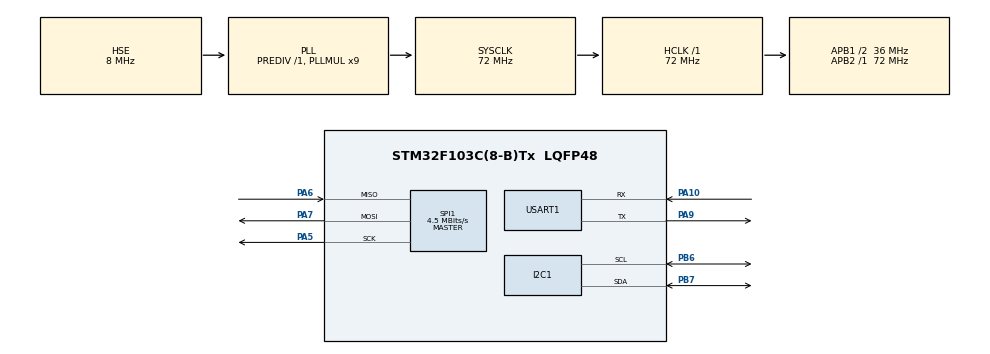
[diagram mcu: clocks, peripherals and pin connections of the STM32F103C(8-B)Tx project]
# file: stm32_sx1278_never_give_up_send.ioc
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I2C1.I2C_Mode=I2C_Fast
Mcu.Family=STM32F1
Mcu.Name=STM32F103C(8-B)Tx
Mcu.Package=LQFP48
NVIC.PriorityGroup=NVIC_PRIORITYGROUP_4
PA10.Mode=Asynchronous
PA10.Signal=USART1_RX
PA5.Mode=Full_Duplex_Master
PA5.Signal=SPI1_SCK
PA6.Mode=Full_Duplex_Master
PA6.Signal=SPI1_MISO
PA7.Mode=Full_Duplex_Master
PA7.Signal=SPI1_MOSI
PA9.Mode=Asynchronous
PA9.Signal=USART1_TX
PB6.Mode=I2C
PB6.Signal=I2C1_SCL
PB7.Mode=I2C
PB7.Signal=I2C1_SDA
PD0-OSC_IN.Mode=HSE-External-Oscillator
PD0-OSC_IN.Signal=RCC_OSC_IN
PD1-OSC_OUT.Mode=HSE-External-Oscillator
PD1-OSC_OUT.Signal=RCC_OSC_OUT
ProjectManager.HeapSize=0x200
ProjectManager.StackSize=0x400
ProjectManager.TargetToolchain=STM32CubeIDE
RCC.AHBFreq_Value=72000000
RCC.APB1CLKDivider=RCC_HCLK_DIV2
RCC.APB1Freq_Value=36000000
RCC.APB1TimFreq_Value=72000000
RCC.APB2Freq_Value=72000000
RCC.APB2TimFreq_Value=72000000
RCC.HCLKFreq_Value=72000000
RCC.PLLMUL=RCC_PLL_MUL9
RCC.PLLSourceVirtual=RCC_PLLSOURCE_HSE
RCC.SYSCLKFreq_VALUE=72000000
RCC.SYSCLKSource=RCC_SYSCLKSOURCE_PLLCLK
RCC.USBFreq_Value=72000000
SPI1.BaudRatePrescaler=SPI_BAUDRATEPRESCALER_16
SPI1.CalculateBaudRate=4.5 MBits/s
SPI1.Direction=SPI_DIRECTION_2LINES
SPI1.Mode=SPI_MODE_MASTER
SPI1.VirtualType=VM_MASTER
USART1.VirtualMode=VM_ASYNC
board=custom

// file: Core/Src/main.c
/* USER CODE BEGIN Header */
/**
  ******************************************************************************
  * @file           : main.c
  * @brief          : Main program body
  ******************************************************************************
  * @attention
  *
  * Copyright (c) 2024 STMicroelectronics.
  * All rights reserved.
  *
  * This software is licensed under terms that can be found in the LICENSE file
  * in the root directory of this software component.
  * If no LICENSE file comes with this software, it is provided AS-IS.
  *
  ******************************************************************************
  */
/* USER CODE END Header */
#include "main.h"

/* USER CODE BEGIN Includes */
#include <stdio.h>
#include "sx1278.hpp"
#include "gpio.h"
#include "spi.h"
#include "i2c.h"
#include "mpu6050.h"

/* USER CODE END Includes */

/* USER CODE BEGIN PTD */

#define MODE_MASTER			1
#define	MODE_SLAVE			0

/* USER CODE END PTD */

I2C_HandleTypeDef hi2c1;

SPI_HandleTypeDef hspi1;

UART_HandleTypeDef huart1;

void SystemClock_Config(void);
static void MX_GPIO_Init(void);
static void MX_SPI1_Init(void);
static void MX_USART1_UART_Init(void);
static void MX_I2C1_Init(void);
/* USER CODE BEGIN PFP */
#define PUTCHAR_PROTOTYPE int __io_putchar(int ch)
/* USER CODE END PFP */

/* USER CODE BEGIN 0 */
SX1278_hw_t SX1278_hw;
SX1278_t SX1278;

int master;
int ret;

char buffer[512];

int message;
int message_length;
void MPU6050_Soft_Reset(void) {
    uint8_t Data = 0x80; // Giá trị reset m�?m
    HAL_I2C_Mem_Write(&hi2c1, MPU6050_ADDR, 0x6B, 1, &Data, 1, HAL_MAX_DELAY);
    HAL_Delay(100); // �?ợi MPU6050 khởi động lại
}

/* USER CODE END 0 */

int main(void)
{

  /* MCU Configuration--------------------------------------------------------*/

  /* Reset of all peripherals, Initializes the Flash interface and the Systick. */
  HAL_Init();

  /* Configure the system clock */
  SystemClock_Config();

  /* Initialize all configured peripherals */
  MX_GPIO_Init();
  MX_SPI1_Init();
  MX_USART1_UART_Init();
  MX_I2C1_Init();
  /* USER CODE BEGIN 2 */
  init_gpio();
  init_spi1();
#if MODE_MASTER
  printf("Mode: Master\r\n");
#elif MODE_SLAVE
  printf("Mode: Slave\r\n");
#endif

  //initialize LoRa module
  SX1278_hw.dio0.port = DIO0_GPIO_Port;
  SX1278_hw.dio0.pin = DIO0_Pin;
  SX1278_hw.nss.port = NSS_GPIO_Port;
  SX1278_hw.nss.pin = NSS_Pin;
  SX1278_hw.reset.port = RESET_GPIO_Port;
  SX1278_hw.reset.pin = RESET_Pin;
  SX1278_hw.spi = &hspi1;

  SX1278.hw = &SX1278_hw;

  printf("Configuring LoRa module\r\n");
  SX1278_init(&SX1278, 434000000, SX1278_POWER_17DBM, SX1278_LORA_SF_7,
		  	  SX1278_LORA_BW_125KHZ, SX1278_LORA_CR_4_5, SX1278_LORA_CRC_EN, 10);
  printf("Done configuring LoRaModule\r\n");

#if MODE_MASTER
  ret = SX1278_LoRaEntryTx(&SX1278, 16, 2000);
#elif MODE_SLAVE
  ret = SX1278_LoRaEntryRx(&SX1278, 16, 2000);
#endif
  I2C_MspInit(&hi2c1);
  I2C1_Init();
  MPU6050_Soft_Reset();
  MPU6050_t MPU6050;
  while(MPU6050_Init(&hi2c1) == 1);
  /* USER CODE END 2 */

  /* Infinite loop */
  /* USER CODE BEGIN WHILE */
  while (1)
  {
	  //printf("hello world\n");HAL_Delay(500);
	  MPU6050_Read_All(&hi2c1, &MPU6050);
#if	MODE_MASTER
	  printf("Master ...\r\n");
	  HAL_Delay(1000);
	  printf("Sending package...\r\n");

	  message_length = sprintf(buffer,"Ax= %.2f  Ay:= %.2f  Az:= %.2f  Gx:= %.2f  Gy:= %.2f  Gz:= %.2f  Temperature:= %.2f\n",MPU6050.Ax,MPU6050.Ay,MPU6050.Az,MPU6050.Gx,MPU6050.Gy,MPU6050.Gz,MPU6050.Temperature);
	  ret = SX1278_LoRaEntryTx(&SX1278, message_length, 2000);
	  printf("Entry: %d\r\n", ret);

	  printf("Sending %s\r\n", buffer);
	  ret = SX1278_LoRaTxPacket(&SX1278, (uint8_t*) buffer,
			  	  	  	  	  	  message_length, 2000);
	  message += 1;

	  printf("Transmission: %d\r\n", ret);
	  printf("Package sent...\r\n");
#elif MODE_SLAVE
	  printf("Slave ...\r\n");
	  HAL_Delay(800);
	  printf("Receiving package...\r\n");

	  ret = SX1278_LoRaRxPacket(&SX1278);
	  printf("Received: %d\r\n", ret);
	  if (ret > 0) {
	  	SX1278_read(&SX1278, (uint8_t*) buffer, ret);
	  	printf("Content (%d): %s\r\n", ret, buffer);
	  }
	  printf("Package received ...\r\n");
#endif
    /* USER CODE END WHILE */

  }
}

void SystemClock_Config(void)
{
  RCC_OscInitTypeDef RCC_OscInitStruct = {0};
  RCC_ClkInitTypeDef RCC_ClkInitStruct = {0};

  /** Initializes the RCC Oscillators according to the specified parameters
  * in the RCC_OscInitTypeDef structure.
  */
  RCC_OscInitStruct.OscillatorType = RCC_OSCILLATORTYPE_HSE;
  RCC_OscInitStruct.HSEState = RCC_HSE_ON;
  RCC_OscInitStruct.HSEPredivValue = RCC_HSE_PREDIV_DIV1;
  RCC_OscInitStruct.HSIState = RCC_HSI_ON;
  RCC_OscInitStruct.PLL.PLLState = RCC_PLL_ON;
  RCC_OscInitStruct.PLL.PLLSource = RCC_PLLSOURCE_HSE;
  RCC_OscInitStruct.PLL.PLLMUL = RCC_PLL_MUL9;
  if (HAL_RCC_OscConfig(&RCC_OscInitStruct) != HAL_OK)
  {
    Error_Handler();
  }

  /** Initializes the CPU, AHB and APB buses clocks
  */
  RCC_ClkInitStruct.ClockType = RCC_CLOCKTYPE_HCLK|RCC_CLOCKTYPE_SYSCLK
                              |RCC_CLOCKTYPE_PCLK1|RCC_CLOCKTYPE_PCLK2;
  RCC_ClkInitStruct.SYSCLKSource = RCC_SYSCLKSOURCE_PLLCLK;
  RCC_ClkInitStruct.AHBCLKDivider = RCC_SYSCLK_DIV1;
  RCC_ClkInitStruct.APB1CLKDivider = RCC_HCLK_DIV2;
  RCC_ClkInitStruct.APB2CLKDivider = RCC_HCLK_DIV1;

  if (HAL_RCC_ClockConfig(&RCC_ClkInitStruct, FLASH_LATENCY_2) != HAL_OK)
  {
    Error_Handler();
  }
}

static void MX_I2C1_Init(void)
{

  hi2c1.Instance = I2C1;
  hi2c1.Init.ClockSpeed = 400000;
  hi2c1.Init.DutyCycle = I2C_DUTYCYCLE_2;
  hi2c1.Init.OwnAddress1 = 0;
  hi2c1.Init.AddressingMode = I2C_ADDRESSINGMODE_7BIT;
  hi2c1.Init.DualAddressMode = I2C_DUALADDRESS_DISABLE;
  hi2c1.Init.OwnAddress2 = 0;
  hi2c1.Init.GeneralCallMode = I2C_GENERALCALL_DISABLE;
  hi2c1.Init.NoStretchMode = I2C_NOSTRETCH_DISABLE;
  if (HAL_I2C_Init(&hi2c1) != HAL_OK)
  {
    Error_Handler();
  }

}

static void MX_SPI1_Init(void)
{

  /* SPI1 parameter configuration*/
  hspi1.Instance = SPI1;
  hspi1.Init.Mode = SPI_MODE_MASTER;
  hspi1.Init.Direction = SPI_DIRECTION_2LINES;
  hspi1.Init.DataSize = SPI_DATASIZE_8BIT;
  hspi1.Init.CLKPolarity = SPI_POLARITY_LOW;
  hspi1.Init.CLKPhase = SPI_PHASE_1EDGE;
  hspi1.Init.NSS = SPI_NSS_SOFT;
  hspi1.Init.BaudRatePrescaler = SPI_BAUDRATEPRESCALER_16;
  hspi1.Init.FirstBit = SPI_FIRSTBIT_MSB;
  hspi1.Init.TIMode = SPI_TIMODE_DISABLE;
  hspi1.Init.CRCCalculation = SPI_CRCCALCULATION_DISABLE;
  hspi1.Init.CRCPolynomial = 10;
  if (HAL_SPI_Init(&hspi1) != HAL_OK)
  {
    Error_Handler();
  }

}

static void MX_USART1_UART_Init(void)
{

  huart1.Instance = USART1;
  huart1.Init.BaudRate = 115200;
  huart1.Init.WordLength = UART_WORDLENGTH_8B;
  huart1.Init.StopBits = UART_STOPBITS_1;
  huart1.Init.Parity = UART_PARITY_NONE;
  huart1.Init.Mode = UART_MODE_TX_RX;
  huart1.Init.HwFlowCtl = UART_HWCONTROL_NONE;
  huart1.Init.OverSampling = UART_OVERSAMPLING_16;
  if (HAL_UART_Init(&huart1) != HAL_OK)
  {
    Error_Handler();
  }

}

static void MX_GPIO_Init(void)
{

  /* GPIO Ports Clock Enable */
  __HAL_RCC_GPIOD_CLK_ENABLE();
  __HAL_RCC_GPIOA_CLK_ENABLE();
  __HAL_RCC_GPIOB_CLK_ENABLE();

}

/* USER CODE BEGIN 4 */
PUTCHAR_PROTOTYPE
{
  /* Place your implementation of fputc here */
  /* e.g. write a character to the USART1 and Loop until the end of transmission */
  HAL_UART_Transmit(&huart1, (uint8_t *)&ch, 1, 0xFFFF);

  return ch;
}
/* USER CODE END 4 */

void Error_Handler(void)
{
  __disable_irq();
  while (1)
  {
  }
}
